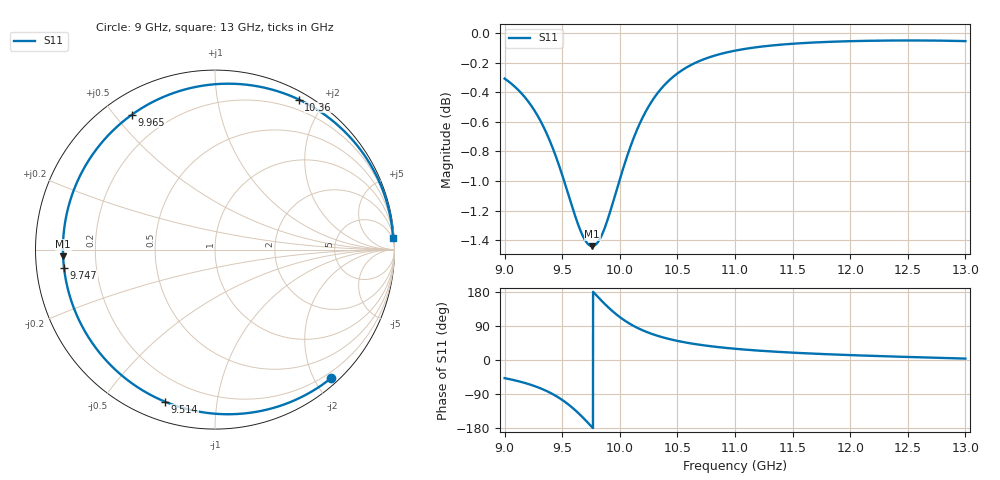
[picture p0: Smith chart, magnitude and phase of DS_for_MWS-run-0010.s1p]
! TOUCHSTONE file generated by CST DESIGN STUDIO
! Date and time: Tue Feb  4 17:16:07 2025
! Project name: C:\Work\MatlabApps\UnitCellOptimizationMatlab\CST\unitcell.cst
! Tree item: Tasks\Sweep1\SPara1\S-Parameters
! Header version: 2024
! Port assignment regex: !\s*Touchstone port\s*([0-9]+)\s*=\s*(CST MWS port|CST DES external port|CST DES block port)\s*(.+)\s* \(\"(.*)\"\)(\s*mode\s*([0-9]+))?.*
! Touchstone port assignment:
! Touchstone port 1 = CST DES external port 1 ("")
# GHz S MA R 50
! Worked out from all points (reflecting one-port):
!   4001 points, 9 GHz to 13 GHz, reference 50 ohm
!   lowest |S11| = -1.4 dB at 9.76 GHz (marker M1), VSWR 12.09, Z = 4.14 - j1.12 ohm
!   phase of S11 starts at -48 deg and turns -308 deg over the sweep
!   S11 on the Smith chart (normalised r, x): 9 GHz: 0.11, -2.25; 9.514 GHz: 0.09, -0.72; 9.747 GHz: 0.08, -0.06; 9.965 GHz: 0.08, +0.56; 10.36 GHz: 0.08, +1.70; 13 GHz: 3, +30
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9  0.9652 -47.8
9.141  0.9547 -57.6
9.27  0.94 -69.9
9.336  0.9299 -77.9
9.401  0.9179 -87.3
9.5  0.8954 -105.3
9.514  0.892 -108.3
9.571  0.8775 -121.5
9.626  0.8642 -136.1
9.691  0.8521 -155.3
9.747  0.8474 -173.2
9.76  0.8472 -177.4
9.804  0.8493 168.3
9.85  0.8556 153.8
9.908  0.8681 136.7
9.965  0.883 121.6
10  0.8924 113.3
10.066  0.9092 99.5
10.142  0.926 86.4
10.247  0.944 72.3
10.361  0.9578 60.8
10.5  0.9691 50.4
10.718  0.9795 39.2
11  0.9864 29.6
11.5  0.9917 19.4
12  0.9937 12.9
12.5  0.9943 8.0
13  0.9938 3.7
